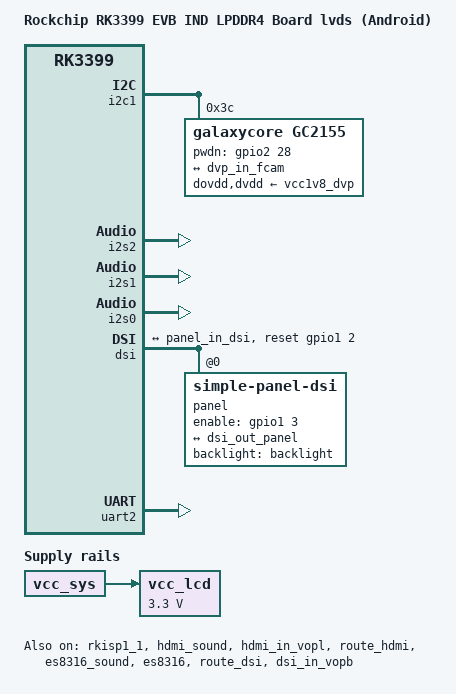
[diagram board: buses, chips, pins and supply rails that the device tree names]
// SPDX-License-Identifier: (GPL-2.0+ OR MIT)
/*
 * Copyright (c) 2019 Fuzhou Rockchip Electronics Co., Ltd
 */

/dts-v1/;

#include "rk3399-evb-ind-r08.dtsi"
#include "rk3399-android.dtsi"

/ {
	model = "Rockchip RK3399 EVB IND LPDDR4 Board lvds (Android)";
	compatible = "rockchip,android", "rockchip,rk3399-evb-ind-lpddr4-android-r08", "rockchip,rk3399";
	chosen: chosen {
		//bootargs = "earlycon=uart8250,mmio32,0xff1a0000 console=ttyFIQ0 androidboot.baseband=N/A androidboot.veritymode=enforcing androidboot.hardware=rk30board androidboot.console=ttyFIQ0 init=/init initrd=0x62000001,0x00800000 coherent_pool=1m";
		bootargs = "androidboot.baseband=N/A androidboot.veritymode=enforcing androidboot.hardware=rk30board init=/init initrd=0x62000001,0x00800000 coherent_pool=1m";
	};

	iram: sram@ff8d0000 {
		compatible = "mmio-sram";
		reg = <0x0 0xff8d0000 0x0 0x20000>;
	};

	vcc_lcd: vcc-lcd {
		compatible = "regulator-fixed";
		regulator-name = "vcc_lcd";
		startup-delay-us = <20000>;
		enable-active-high;
		regulator-min-microvolt = <3300000>;
		regulator-max-microvolt = <3300000>;
		regulator-boot-on;
		vin-supply = <&vcc_sys>;
	};

	test-power {
		status = "okay";
	};
};

&backlight {
	pwms = <&pwm0 0 10000 0>;
	enable-gpios = <&gpio1 10 GPIO_ACTIVE_LOW>;
	pinctrl-names = "default"; 
	pinctrl-0 = <&bl_en>; 
};

&dmac_bus {
	iram = <&iram>;
	rockchip,force-iram;
};

&dp_sound {
	status = "disabled";
};

&i2c1 {
	status = "okay";

	gc2155: gc2155@3c {
		status = "okay";
		compatible = "galaxycore,gc2155";
		
		reg = <0x3c>;

		clocks = <&cru SCLK_CIF_OUT>;
		clock-names = "xvclk";

		//avdd-supply = <&vcc2v8_dvp>;
		dovdd-supply = <&vcc1v8_dvp>;
		dvdd-supply = <&vcc1v8_dvp>;

		pwdn-gpios = <&gpio2 28 GPIO_ACTIVE_HIGH>;
		rockchip,camera-module-index = <1>;
		rockchip,camera-module-facing = "front";		//"front";
		rockchip,camera-module-name = "CameraKing";
		rockchip,camera-module-lens-name = "Largan";

		pinctrl-names = "rockchip,camera_default";
		pinctrl-0 = <&cif_clkout>;		

		port {			
			gc2155_out: endpoint {
				remote-endpoint = <&dvp_in_fcam>;
			};
		};
	};
};

&rkisp1_1 {
	status = "okay";
	pinctrl-names = "default";
	pinctrl-0 = <&cif_clkout &isp_dvp_d0d7>;

	port {
		#address-cells = <1>;
		#size-cells = <0>;
		dvp_in_fcam: endpoint@0 {
			reg = <0>;
			remote-endpoint = <&gc2155_out>;
		};
	};
};

&i2s2 {
	#sound-dai-cells = <0>;
	status = "okay";
};

&hdmi_sound {
	status = "okay";
};

&hdmi_in_vopl {
	status = "okay";
};

&hdmi_in_vopb {
	status = "disabled";
};

&route_hdmi {
	status = "okay";
	connect = <&vopl_out_hdmi>;
};

&i2s1 {
	#sound-dai-cells = <0>;
	status = "okay";
};

&es8316_sound {
	status = "okay";
};

&es8316 {
	status = "okay";
	spk_volume = <0x33>;//44-2.2w 33-1.59w
};
/*
 * if enable dp_sound, should disable spdif_sound and spdif_out
 */
&spdif_out {
	status = "disabled";
};

&spdif_sound {
	status = "disabled";
};

&i2s0 {
	#sound-dai-cells = <0>;
	status = "okay";
};

&dsi {
	status = "okay";
	//rockchip,lane-rate = <750>;
	reset-gpios = <&gpio1 2 GPIO_ACTIVE_HIGH>;
	panel@0 {
		compatible ="simple-panel-dsi";
		reg = <0>;
		backlight = <&backlight>;
		//power-supply = <&vcc3v3_s0>;
		enable-gpios = <&gpio1 3 GPIO_ACTIVE_HIGH>;		
		dsi,flags = <(MIPI_DSI_MODE_VIDEO | MIPI_DSI_MODE_VIDEO_BURST |
			      MIPI_DSI_MODE_LPM | MIPI_DSI_MODE_EOT_PACKET)>;
		dsi,format = <MIPI_DSI_FMT_RGB888>;
		dsi,lanes  = <4>;
		//add by rocky.sun for resume suspend display problem
		reset-delay-ms = <60>;
		enable-delay-ms = <60>;
		prepare-delay-ms = <60>;
		unprepare-delay-ms = <60>;
		disable-delay-ms = <60>;

		panel-init-sequence = [
			29 05 06 14 01 08 00 00 00
			29 05 06 3c 01 0c 00 0a 00
			29 05 06 64 01 0c 00 00 00
			29 05 06 68 01 0c 00 00 00
			29 05 06 6c 01 0c 00 00 00
			29 05 06 70 01 0c 00 00 00
			29 05 06 34 01 1f 00 00 00
			29 05 06 10 02 1f 00 00 00
			29 05 06 04 01 01 00 00 00
			29 05 06 04 02 01 00 00 00
			29 05 06 50 04 00 01 f0 03
			29 05 06 54 04 14 00 64 00
			29 05 06 58 04 80 07 a0 00
			29 05 06 5c 04 0a 00 19 00
			29 05 06 60 04 38 04 0a 00
			29 05 06 64 04 01 00 00 00
			29 05 06 a0 04 06 c4 00 00
			29 05 06 a0 04 06 c4 00 00
			29 05 06 04 05 04 00 00 00
			29 05 06 80 04 00 01 02 03
			29 05 06 84 04 04 07 05 08
			29 05 06 88 04 09 0a 0e 0f
			29 05 06 8c 04 0b 0c 0d 10
			29 05 06 90 04 16 17 11 12
			29 05 06 94 04 13 14 15 1b
			29 14 06 98 04 18 19 1a 06
			29 78 06 9c 04 33 04 00 00	
		    ]; 
			
		/*panel-exit-sequence = [
			05 00 01 28
			05 00 01 10
		];*/			
		display-timings {
			native-mode = <&timing0>;

			timing0: timing0 {
				clock-frequency = <148500000>;
				hactive = <1920>;
				vactive = <1080>;
				hback-porch = <100>;
				hsync-len = <20>;
				hfront-porch = <160>;
				vback-porch = <25>;
				vfront-porch = <10>;
				vsync-len = <10>;
				hsync-active = <0>;
				vsync-active = <0>;
				de-active = <0>;
				pixelclk-active = <0>;
			};
		};

		ports {
			#address-cells = <1>;
			#size-cells = <0>;

			port@0 {
				reg = <0>;
				panel_in_dsi: endpoint {
					remote-endpoint = <&dsi_out_panel>;
				};
			};
		};
	};

	ports {
		#address-cells = <1>;
		#size-cells = <0>;

		port@1 {
			reg = <1>;
			dsi_out_panel: endpoint {
				remote-endpoint = <&panel_in_dsi>;
			};
		};
	};
};

&route_dsi {
	status = "okay";
	connect = <&vopb_out_dsi>;
};

&dsi_in_vopl {
	status = "disabled";
};

&dsi_in_vopb {
	status = "okay";
};

&uart2 {
	status = "okay";
};

&fiq_debugger {
	status = "disabled";
};

&bma2x2 {
	layout = <2>;
};

&kxt {
	layout = <2>;
};

&pinctrl {
	lcd-panel {
		/*lcd_panel_reset: lcd-panel-reset {
			rockchip,pins = <1 RK_PC7 RK_FUNC_GPIO &pcfg_pull_up>;
		};*/
		lcd_en: lcd-en {
			rockchip,pins = <1 3 RK_FUNC_GPIO &pcfg_pull_up>;
		};
		bl_en: bl-en {
			rockchip,pins = <1 10 RK_FUNC_GPIO &pcfg_pull_up>;
		};
	};
};

